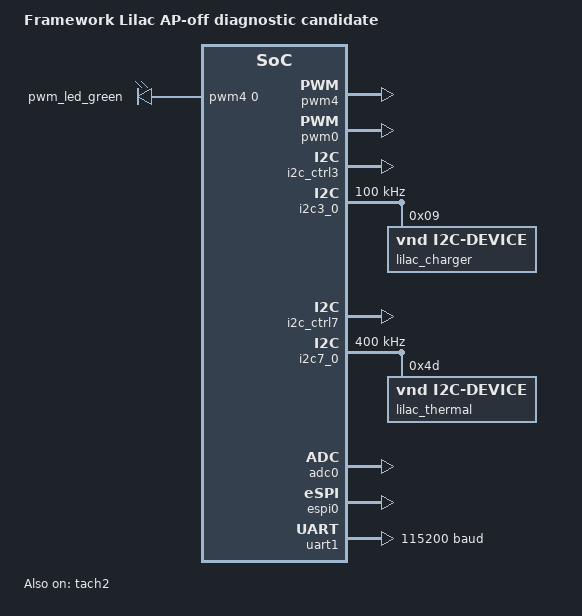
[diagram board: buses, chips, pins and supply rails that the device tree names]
/dts-v1/;

#include <nuvoton/npcx9m3f.dtsi>
#include <nuvoton/npcx/npcx9/npcx9-pinctrl.dtsi>
#include <zephyr/dt-bindings/i2c/i2c.h>
#include <zephyr/dt-bindings/pwm/pwm.h>
#include <zephyr/dt-bindings/sensor/npcx_tach.h>

/ {
    model = "Framework Lilac AP-off diagnostic candidate";
    compatible = "framework,lilac-diag";

    chosen {
        zephyr,sram = &sram0;
        zephyr,flash = &flash0;
        zephyr,console = &uart1;
    };

    // Green battery LED, as stock laptop13/led_pins.dtsi. Native heartbeat only.
    lilac-leds {
        compatible = "pwm-leds";
        pwm_led_green: led-green {
            pwms = <&pwm4 0 PWM_HZ(324) PWM_POLARITY_NORMAL>;
        };
    };
};

&pwm4 {
    status = "okay";
    clock-bus = "NPCX_CLOCK_BUS_LFCLK";
    pinctrl-0 = <&pwm4_gpb6>;
    pinctrl-names = "default";
};

// Fan, as stock laptop13/fan.dtsi: PWM0 on GPC3 (open-drain), tach TA2 on
// GP73 sampled from LFCLK, 2 pulses per turn. The fan is powered only in S0;
// native fan.c applies duty 0 while slp_s3_l is low.
&pwm0_gpc3 {
    drive-open-drain;
};

&pwm0 {
    status = "okay";
    pinctrl-0 = <&pwm0_gpc3>;
    pinctrl-names = "default";
};

&tach2 {
    status = "okay";
    pinctrl-0 = <&ta2_1_in_gp73>;
    pinctrl-names = "default";
    port = <NPCX_TACH_PORT_A>;
    sample-clk = <NPCX_TACH_FREQ_LFCLK>;
    pulses-per-round = <2>;
};

// Charger/battery SMBus, as stock lilac/i2c.dtsi. Native reads only; the
// smart battery at 0x0b is not addressed. Neutral compatible: no driver.
&i2c_ctrl3 { status = "okay"; };
&i2c3_0 {
    status = "okay";
    clock-frequency = <I2C_BITRATE_STANDARD>;
    pinctrl-0 = <&i2c3_0_sda_scl_gpd0_d1>;
    pinctrl-names = "default";

    lilac_charger: charger@9 {
        compatible = "vnd,i2c-device";
        reg = <0x9>;
    };
};

// Sensor bus, as stock. Only the F75303 is addressed; the APU SB-TSI (0x4c)
// and ALS (0x29) are not.
&i2c_ctrl7 { status = "okay"; };
&i2c7_0 {
    status = "okay";
    clock-frequency = <I2C_BITRATE_FAST>;
    pinctrl-0 = <&i2c7_0_sda_scl_gpb2_b3>;
    pinctrl-names = "default";

    lilac_thermal: thermal@4d {
        compatible = "vnd,i2c-device";
        reg = <0x4d>;
    };
};

// ADC, as stock laptop13/adc.dtsi (= release azalea/adc.dtsi): six channels
// on their stock pads. Native adc.c reads them; read-only.
&adc0 {
    status = "okay";
    pinctrl-0 = <&adc0_chan0_gp45
                 &adc0_chan4_gp41
                 &adc0_chan5_gp37
                 &adc0_chan7_gpe1
                 &adc0_chan8_gpf1
                 &adc0_chan9_gpf0>;
    pinctrl-names = "default";
};

// Host interface, as stock lilac/gpio.dtsi. Native espi.c owns it.
&espi0 {
    status = "okay";
    pinctrl-0 = <&espi_lpc_gp46_47_51_52_53_54_55_57>;
    pinctrl-names = "default";
};

// Same console routing as Framework's NPCX9 EC board definition.
&uart1 {
    status = "okay";
    current-speed = <115200>;
    pinctrl-0 = <&uart1_2_sin_gp64 &uart1_2_sout_gp65>;
    pinctrl-names = "default";
};

// NPCX GPIO ports have eight pins, rather than the generator's 32-pin default.
&gpio0 { ngpios = <8>; };
&gpio1 { ngpios = <8>; };
&gpio2 { ngpios = <8>; };
&gpio3 { ngpios = <8>; };
&gpio4 { ngpios = <8>; };
&gpio5 { ngpios = <8>; };
&gpio6 { ngpios = <8>; };
&gpio7 { ngpios = <8>; };
&gpio8 { ngpios = <8>; };
&gpio9 { ngpios = <8>; };
&gpioa { ngpios = <8>; };
&gpiob { ngpios = <8>; };
&gpioc { ngpios = <8>; };
&gpiod { ngpios = <8>; };
&gpioe { ngpios = <8>; };
&gpiof { ngpios = <8>; };

// CIRCUITPY storage: littlefs (power-loss tolerant) in the upper flash half,
// the same region the generic NPCX993 target uses for FAT. The firmware image
// (header + payload, under 0x41000) stays outside it; flash_area bounds every
// filesystem access to this partition. Stale stock bytes here are replaced by
// the first format. The stock image is backed up externally.
&int_flash {
    partitions {
        compatible = "fixed-partitions";
        #address-cells = <1>;
        #size-cells = <1>;

        littlefs_partition: partition@41000 {
            label = "circuitpy";
            reg = <0x41000 0x3f000>;
        };
    };
};
